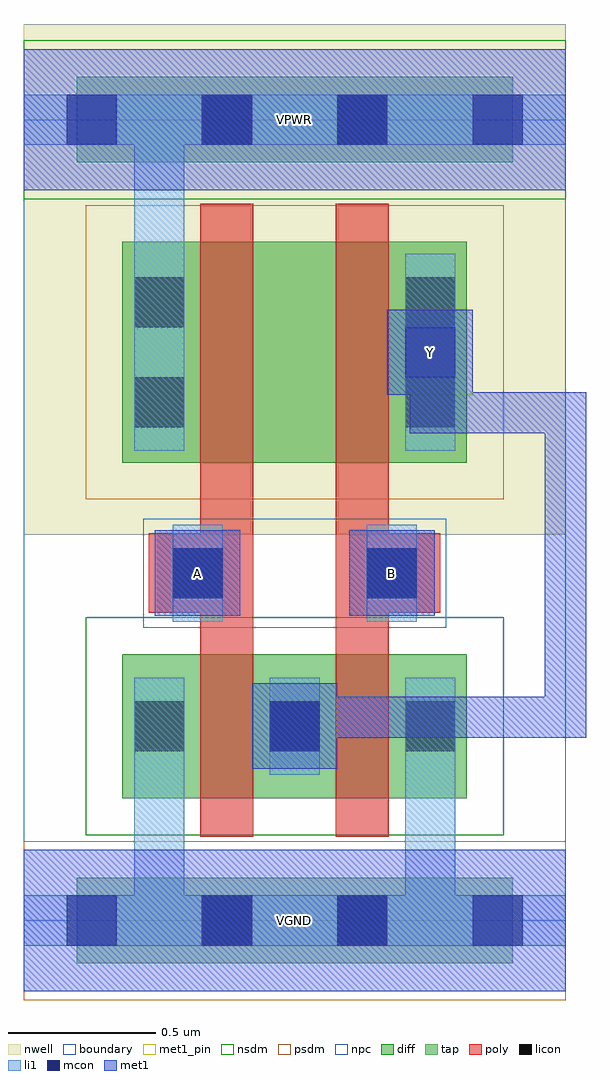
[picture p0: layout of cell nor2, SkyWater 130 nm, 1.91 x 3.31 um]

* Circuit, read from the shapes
.subckt nor2 A B VGND VPWR Y
XM1 Y A VGND VGND sky130_fd_pr__nfet_01v8 w=0.49 l=0.18
XM2 VGND B Y VGND sky130_fd_pr__nfet_01v8 w=0.49 l=0.18
XM3 n1 A VPWR VPWR sky130_fd_pr__pfet_01v8 w=0.75 l=0.18
XM4 Y B n1 VPWR sky130_fd_pr__pfet_01v8 w=0.75 l=0.18
.ends

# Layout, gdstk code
import gdstk
lib = gdstk.Library(unit=1e-6, precision=1e-09)
def R(c, l, rs):  # rectangles x0, y0, x1, y1
    for r in rs: c.add(gdstk.rectangle(r[:2], r[2:], *l))
def A(c, l, x, y, w, h, nx, ny, dx, dy):  # array of equal rectangles
    R(c, l, [(x+i*dx, y+j*dy, x+i*dx+w, y+j*dy+h) for i in range(nx) for j in range(ny)])
nwell = (64, 20)
diff = (65, 20)
tap = (65, 44)
poly = (66, 20)
licon = (66, 44)
li1 = (67, 20)
mcon = (67, 44)
met1_pin = (68, 16)
met1 = (68, 20)
nsdm = (93, 44)
psdm = (94, 20)
npc = (95, 20)
boundary = (235, 4)

nor2 = lib.new_cell('nor2')
R(nor2, nwell, [(0,1.31,1.84,3.045)])
R(nor2, diff, [(0.335,0.415,1.505,0.905), (0.335,1.555,1.505,2.305)])
R(nor2, tap, [(0.18,-0.145,1.66,0.145), (0.18,2.575,1.66,2.865)])
R(nor2, poly, [(0.6,0.285,0.78,2.435), (1.06,0.285,1.24,2.435), (0.425,1.045,0.755,1.315), (1.085,1.045,1.415,1.315)])
A(nor2, licon, 0.375, 0.575, 0.17, 0.17, 3, 1, 0.46, 0)
R(nor2, licon, [(0.605,-0.085,0.775,0.085), (1.065,-0.085,1.235,0.085), (0.505,1.095,0.675,1.265), (1.165,1.095,1.335,1.265), (0.375,1.675,0.545,1.845), (1.295,1.675,1.465,1.845), (0.375,2.015,0.545,2.185), (1.295,2.015,1.465,2.185), (0.605,2.635,0.775,2.805), (1.065,2.635,1.235,2.805)])
A(nor2, li1, 0.375, 0.495, 0.17, 0.33, 3, 1, 0.46, 0)
R(nor2, li1, [(0,-0.085,1.84,0.085), (0.375,-0.085,0.545,0.825), (1.295,-0.085,1.465,0.825), (0.505,1.015,0.675,1.345), (1.165,1.015,1.335,1.345), (0.375,1.595,0.545,2.265), (0.375,1.595,0.545,2.805), (1.295,1.595,1.465,2.265), (0,2.635,1.84,2.805)])
A(nor2, mcon, 0.145, -0.085, 0.17, 0.17, 4, 2, 0.46, 2.72)
R(nor2, mcon, [(0.835,0.575,1.005,0.745), (0.505,1.095,0.675,1.265), (1.165,1.095,1.335,1.265), (1.295,1.845,1.465,2.015)])
R(nor2, met1_pin, [(0,-0.24,1.84,0.24), (0.445,1.035,0.735,1.325), (1.105,1.035,1.395,1.325), (1.235,1.785,1.525,2.075), (0,2.48,1.84,2.96)])
R(nor2, met1, [(0,-0.24,1.84,0.24), (0.775,0.515,1.065,0.805), (0.85,0.62,0.99,0.76), (0.85,0.62,1.91,0.76), (1.77,0.62,1.91,1.795), (0.445,1.035,0.735,1.325), (1.105,1.035,1.395,1.325), (1.31,1.655,1.45,2.025), (1.31,1.655,1.91,1.795), (1.235,1.785,1.525,2.075), (1.31,1.795,1.45,1.885), (1.31,1.795,1.45,1.885), (1.31,1.795,1.45,1.885), (1.31,1.795,1.45,1.885), (1.31,1.795,1.45,1.885), (1.31,1.795,1.45,1.885), (1.31,1.885,1.45,2.025), (0,2.48,1.84,2.96)])
R(nor2, nsdm, [(0.21,0.29,1.63,1.03), (0,2.45,1.84,2.99)])
R(nor2, psdm, [(0,-0.27,1.84,0.27), (0.21,1.43,1.63,2.43)])
R(nor2, npc, [(0.405,0.995,1.435,1.365)])
R(nor2, boundary, [(0,0,1.84,2.72)])
nor2.add(gdstk.Label('A', (0.59,1.18), layer=68, texttype=5))
nor2.add(gdstk.Label('B', (1.25,1.18), layer=68, texttype=5))
nor2.add(gdstk.Label('Y', (1.38,1.93), layer=68, texttype=5))
nor2.add(gdstk.Label('VPWR', (0.92,2.72), layer=68, texttype=5))
nor2.add(gdstk.Label('VGND', (0.92,0), layer=68, texttype=5))
nor2.add(gdstk.Label('A', (0.59,1.18), layer=68, texttype=16))
nor2.add(gdstk.Label('B', (1.25,1.18), layer=68, texttype=16))
nor2.add(gdstk.Label('Y', (1.38,1.93), layer=68, texttype=16))
nor2.add(gdstk.Label('VPWR', (0.92,2.72), layer=68, texttype=16))
nor2.add(gdstk.Label('VGND', (0.92,0), layer=68, texttype=16))

lib.write_gds('nor2.gds')
